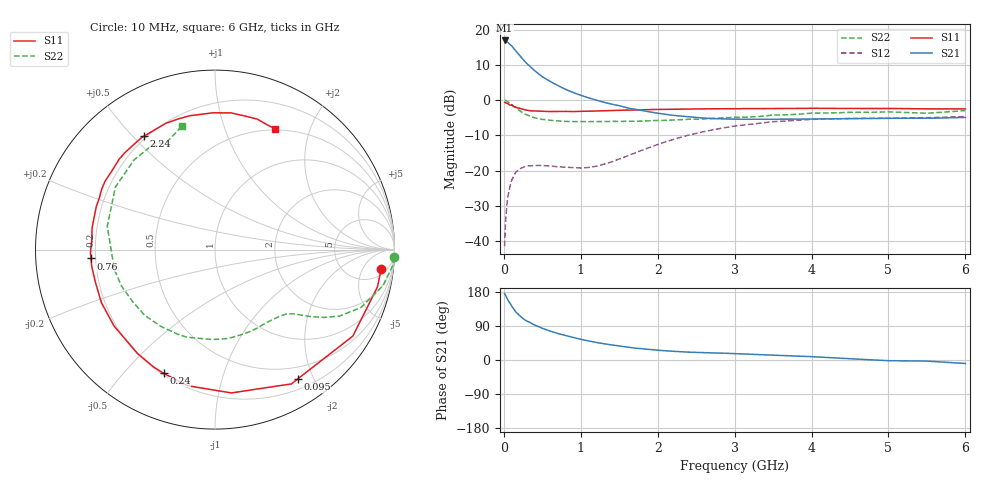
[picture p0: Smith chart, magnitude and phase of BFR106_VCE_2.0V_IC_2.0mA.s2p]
! Infineon Technologies  Discrete & RF Semiconductors
! BFR106
! VCE =  2.0 V,  IC =  2.0 mA
! Common Emitter S-Parameters:  Nov 2015
# GHz  S  MA  R  50
!  f  S11  S21  S12  S22
! GHz  MAG  ANG  MAG  ANG  MAG  ANG  MAG  ANG
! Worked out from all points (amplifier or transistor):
!   210 points, 10 MHz to 6 GHz, reference 50 ohm
!   highest |S21| = 17.0 dB at 10 MHz (marker M1)
!   |S21| within 3 dB of that: start of sweep to 157.7 MHz
!   unconditionally stable (mu >= 1): 778.9 MHz to 2.293 GHz; 2.7 GHz to end of sweep
!   at 185 MHz: K = 0.25, MSG = 16.6 dB, |S12| = -19.9 dB
!   at 1.52 GHz: K = 1.24, MAG = 4.5 dB, |S12| = -16.6 dB
!   at 6 GHz: K = 1.02, MAG = -1.0 dB, |S12| = -4.6 dB
!   S11 on the Smith chart (normalised r, x): 10 MHz: 8, -13; 95 MHz: 0.33, -1.78; 240 MHz: 0.21, -0.65; 760 MHz: 0.18, -0.03; 2.24 GHz: 0.19, +0.54; 6 GHz: 0.49, +1.51
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0.01  0.9325 -6.6  7.07 175.2  0.0084 86.9  0.9977 -2.5
0.02  0.9286 -13.0  7.065 171.9  0.0166 81.9  0.9941 -5.1
0.05  0.9067 -32.1  6.706 159.2  0.0408 72.7  0.9575 -12.1
0.095  0.8555 -57.5  6.006 144.4  0.0689 59.0  0.8824 -20.6
0.1  0.8607 -60.4  5.956 142.6  0.0722 58.2  0.8754 -21.6
0.15  0.8037 -83.5  5.125 127.9  0.0929 46.5  0.7852 -28.2
0.2  0.7735 -101.4  4.411 117.9  0.1047 38.9  0.7149 -31.9
0.24  0.7464 -112.6  3.907 110.9  0.1101 34.3  0.6675 -34.1
0.3  0.7222 -126.7  3.312 102.6  0.1155 29.5  0.6169 -36.6
0.4  0.7054 -142.9  2.63 92.1  0.118 24.7  0.5617 -39.5
0.5  0.6984 -154.8  2.156 83.5  0.1179 22.4  0.5337 -42.3
0.56  0.6914 -160.7  1.968 79.4  0.1168 22.2  0.5242 -44.3
0.76  0.6929 -175.9  1.502 67.0  0.112 24.5  0.5024 -51.8
1.02  0.6953 169.0  1.152 53.8  0.1089 34.4  0.4964 -62.9
1.4  0.7156 151.9  0.877 39.7  0.1325 53.4  0.5005 -81.6
2.02  0.7386 129.1  0.648 25.5  0.2386 61.3  0.5153 -115.1
2.24  0.7458 122.0  0.603 22.6  0.2847 58.9  0.5239 -127.3
3.1  0.7579 98.8  0.536 16.0  0.4408 40.9  0.5721 -173.7
3.5  0.7621 90.9  0.535 13.0  0.4955 32.0  0.614 167.8
4.1  0.7655 82.1  0.541 7.7  0.536 19.4  0.6547 144.7
5.1  0.7613 71.0  0.553 -2.0  0.5588 3.8  0.676 118.5
6  0.7525 63.4  0.569 -9.2  0.5856 -6.4  0.7127 104.9
